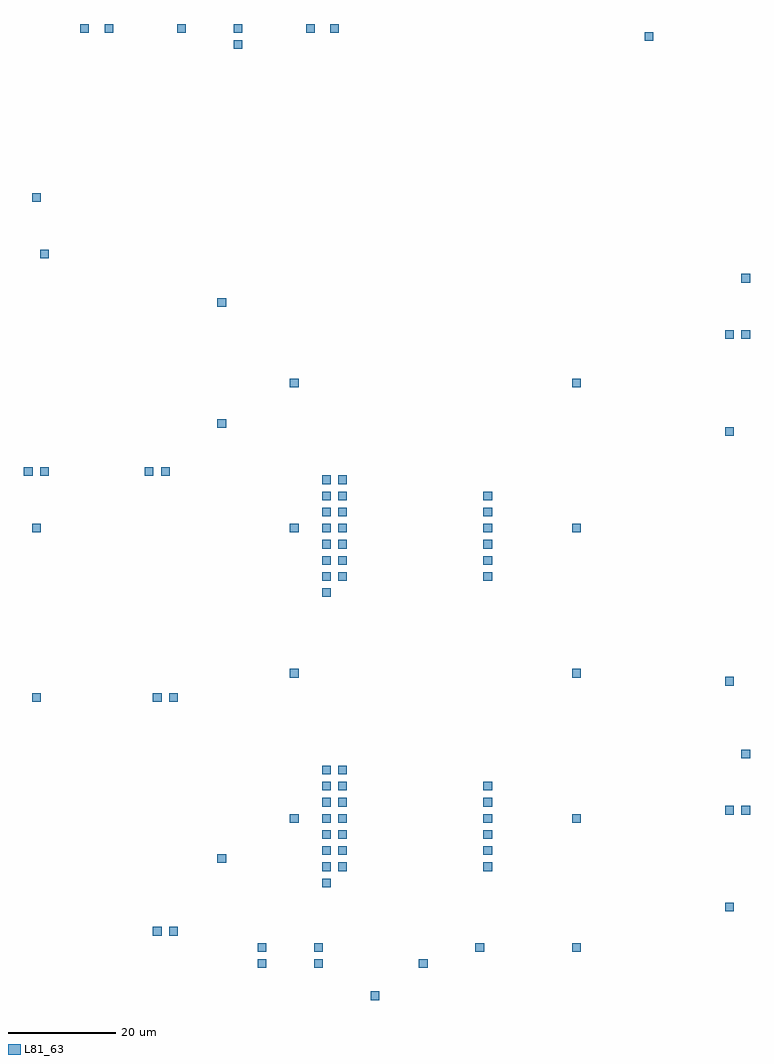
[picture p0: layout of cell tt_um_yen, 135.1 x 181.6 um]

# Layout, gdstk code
import gdstk
lib = gdstk.Library(unit=1e-6, precision=1e-09)
def R(c, l, rs):  # rectangles x0, y0, x1, y1
    for r in rs: c.add(gdstk.rectangle(r[:2], r[2:], *l))
def A(c, l, x, y, w, h, nx, ny, dx, dy):  # array of equal rectangles
    R(c, l, [(x+i*dx, y+j*dy, x+i*dx+w, y+j*dy+h) for i in range(nx) for j in range(ny)])
L81_63 = (81, 63)

tt_um_yen = lib.new_cell('tt_um_yen')
A(tt_um_yen, L81_63, 73, 34.5, 1.6, 1.6, 1, 8, 0, 3)
A(tt_um_yen, L81_63, 76, 37.5, 1.6, 1.6, 1, 7, 0, 3)
A(tt_um_yen, L81_63, 103, 37.5, 1.6, 1.6, 1, 6, 0, 3)
A(tt_um_yen, L81_63, 67, 46.5, 1.6, 1.6, 1, 4, 0, 27)
A(tt_um_yen, L81_63, 119.5, 46.5, 1.6, 1.6, 1, 4, 0, 27)
A(tt_um_yen, L81_63, 73, 88.5, 1.6, 1.6, 1, 8, 0, 3)
A(tt_um_yen, L81_63, 76, 91.5, 1.6, 1.6, 1, 7, 0, 3)
A(tt_um_yen, L81_63, 103, 91.5, 1.6, 1.6, 1, 6, 0, 3)
R(tt_um_yen, L81_63, [(82,13.5,83.6,15.1), (61,19.5,62.6,21.1), (71.5,19.5,73.1,21.1), (91,19.5,92.6,21.1), (61,22.5,62.6,24.1), (71.5,22.5,73.1,24.1), (101.5,22.5,103.1,24.1), (119.5,22.5,121.1,24.1), (41.5,25.5,43.1,27.1), (44.5,25.5,46.1,27.1), (148,30,149.6,31.6), (53.5,39,55.1,40.6), (148,48,149.6,49.6), (151,48,152.6,49.6), (151,58.5,152.6,60.1), (19,69,20.6,70.6), (41.5,69,43.1,70.6), (44.5,69,46.1,70.6), (148,72,149.6,73.6), (19,100.5,20.6,102.1), (17.5,111,19.1,112.6), (20.5,111,22.1,112.6), (40,111,41.6,112.6), (43,111,44.6,112.6), (148,118.5,149.6,120.1), (53.5,120,55.1,121.6), (148,136.5,149.6,138.1), (151,136.5,152.6,138.1), (53.5,142.5,55.1,144.1), (151,147,152.6,148.6), (20.5,151.5,22.1,153.1), (19,162,20.6,163.6), (56.5,190.5,58.1,192.1), (133,192,134.6,193.6), (28,193.5,29.6,195.1), (32.5,193.5,34.1,195.1), (46,193.5,47.6,195.1), (56.5,193.5,58.1,195.1), (70,193.5,71.6,195.1), (74.5,193.5,76.1,195.1)])

lib.write_gds('tt_um_yen.gds')
